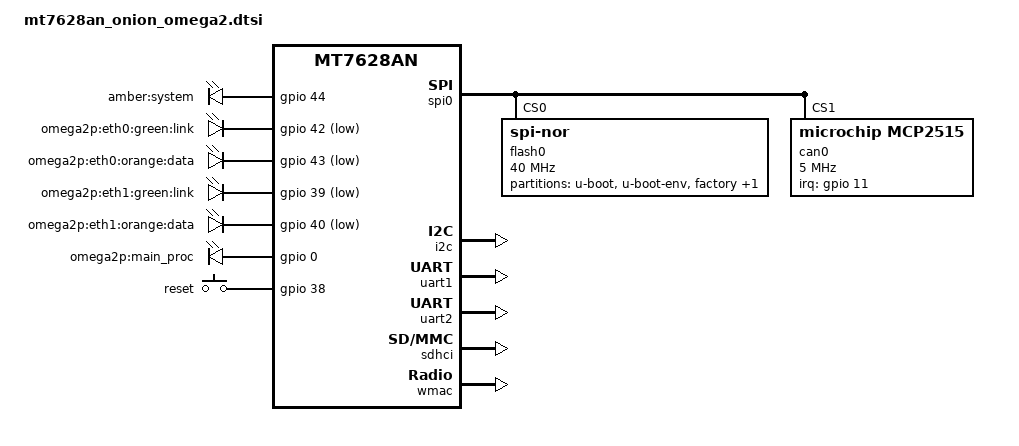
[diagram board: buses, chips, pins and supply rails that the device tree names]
#include "mt7628an.dtsi"

#include <dt-bindings/gpio/gpio.h>
#include <dt-bindings/input/input.h>
#include <dt-bindings/interrupt-controller/irq.h>

/ {
	compatible = "onion,omega2", "mediatek,mt7628an-soc";

	aliases {
		led-boot = &led_system;
		led-failsafe = &led_system;
		led-running = &led_system;
		led-upgrade = &led_system;
	};

	chosen {
		bootargs = "console=ttyS0,115200";
	};

	leds {
		compatible = "gpio-leds";

		led_system: system {
			label = "amber:system";
			gpios = <&gpio 44 GPIO_ACTIVE_HIGH>;
		};
		eth0_led0: eth0link {
			label = "omega2p:eth0:green:link";
			gpios = <&gpio 42 GPIO_ACTIVE_LOW>;
			default-state = "off";
		};
		eth0_led1: eth0data {
			label = "omega2p:eth0:orange:data";
			gpios = <&gpio 43 GPIO_ACTIVE_LOW>;
			default-state = "off";
		};
		eth1_led0: eth1link {
			label = "omega2p:eth1:green:link";
			gpios = <&gpio 39 GPIO_ACTIVE_LOW>;
			default-state = "off";
		};
		eth1_led1: eth1data {
			label = "omega2p:eth1:orange:data";
			gpios = <&gpio 40 GPIO_ACTIVE_LOW>;
			default-state = "off";
		};
		led_main_proc: main_proc {
			label = "omega2p:main_proc";
			gpios = <&gpio 0 GPIO_ACTIVE_HIGH>;
			default-state = "off";
		};
	};

	keys {
		compatible = "gpio-keys";

		reset {
			label = "reset";
			gpios = <&gpio 38 GPIO_ACTIVE_HIGH>;
			linux,code = <KEY_RESTART>;
		};
	};

};

&state_default {
	gpio {
		groups = "gpio";
		function = "gpio";
	};

	perst {
		groups = "perst";
		function = "gpio";
	};

	refclk {
		groups = "refclk";
		function = "gpio";
	};

	i2s {
		groups = "i2s";
		function = "gpio";
	};

	spis {
		groups = "spis";
		function = "gpio";
	};

	wled_kn {
		groups = "wled_kn";
		function = "gpio";
	};

	wled_an {
		groups = "wled_an";
		function = "gpio";
	};

	wdt {
		groups = "wdt";
		function = "gpio";
	};

	pwm0 {
		groups = "pwm0";
		function = "gpio";
	};

	pwm1 {
		groups = "pwm1";
		function = "gpio";
	};
};

&spi0 {
	status = "okay";

	pinctrl-names = "default";
	pinctrl-0 = <&spi_pins>, <&spi_cs1_pins>;

	flash0: flash@0 {
		compatible = "jedec,spi-nor";
		reg = <0>;
		spi-max-frequency = <40000000>;

		partitions {
			compatible = "fixed-partitions";
			#address-cells = <1>;
			#size-cells = <1>;

			partition@0 {
				label = "u-boot";
				reg = <0x0 0x30000>;
				read-only;
			};

			partition@30000 {
				label = "u-boot-env";
				reg = <0x30000 0x10000>;
				read-only;
			};

			factory: partition@40000 {
				label = "factory";
				reg = <0x40000 0x10000>;
				read-only;
			};

			firmware: partition@50000 {
				compatible = "denx,uimage";
				label = "firmware";
			};
		};
	};

	can0: can@1 {
		compatible = "microchip,mcp2515";
		reg = <1>;
        spi-max-frequency = <5000000>;
        clock-frequency  =  <20000000>;
		interrupt-parent = <&gpio>;
		interrupts = <11 IRQ_TYPE_LEVEL_LOW>;
	};
};

&i2c {
	status = "okay";
};

&uart1 {
	status = "okay";
};

&uart2 {
	status = "okay";
};

&ethernet {
	nvmem-cells = <&macaddr_factory_28>;
	nvmem-cell-names = "mac-address";
};

&sdhci {
	status = "okay";
	mediatek,cd-low;
};

&wmac {
	status = "okay";

	mediatek,mtd-eeprom = <&factory 0x0>;
};

&factory {
	compatible = "nvmem-cells";
	#address-cells = <1>;
	#size-cells = <1>;

	macaddr_factory_28: macaddr@28 {
		reg = <0x28 0x6>;
	};
};
